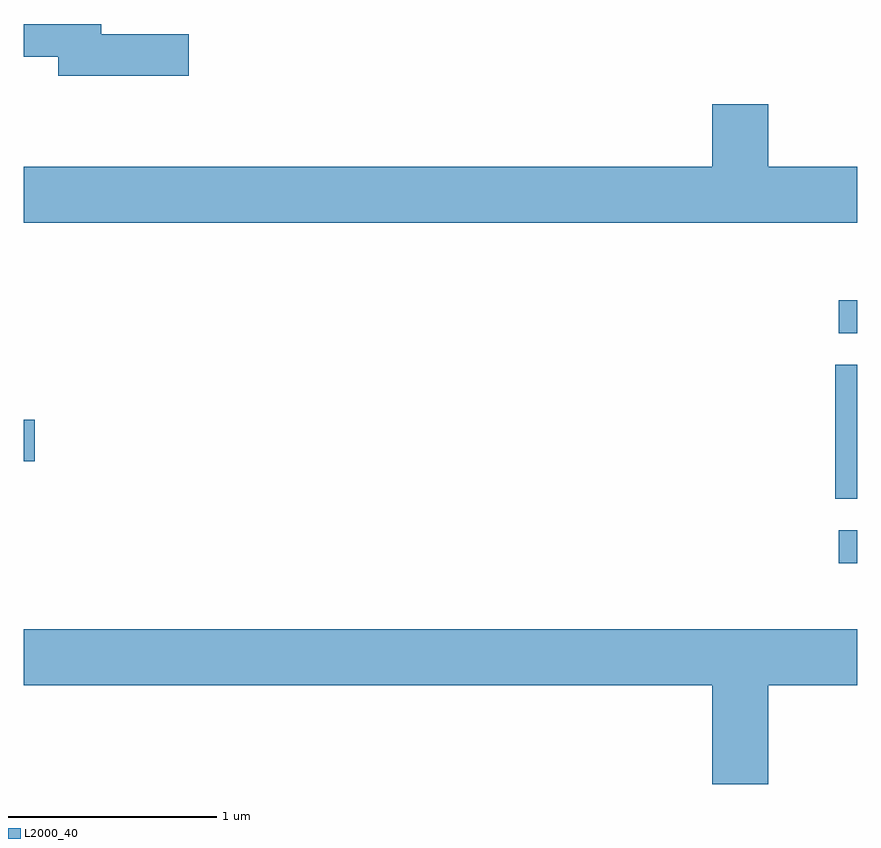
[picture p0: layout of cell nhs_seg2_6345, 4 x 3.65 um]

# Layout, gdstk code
import gdstk
lib = gdstk.Library(unit=1e-6, precision=1e-09)
def R(c, l, rs):  # rectangles x0, y0, x1, y1
    for r in rs: c.add(gdstk.rectangle(r[:2], r[2:], *l))
def P(c, l, *ps):  # polygons
    for p in ps: c.add(gdstk.Polygon(p, *l))
L2000_40 = (2000, 40)

nhs_seg2_6345 = lib.new_cell('nhs_seg2_6345')
R(nhs_seg2_6345, L2000_40, [(375.523,1088.861,375.611,1089.019), (375.506,1089.171,375.611,1089.814), (371.611,1089.351,371.664,1089.549), (375.523,1089.966,375.611,1090.124)])
P(nhs_seg2_6345, L2000_40, [(372.404,1091.399),(371.984,1091.399),(371.984,1091.449),(371.611,1091.449),(371.611,1091.291),(371.776,1091.291),(371.776,1091.201),(372.404,1091.201)],
  [(375.611,1090.764),(375.184,1090.764),(375.184,1091.064),(374.916,1091.064),(374.916,1090.764),(371.611,1090.764),(371.611,1090.496),(375.611,1090.496)],
  [(375.184,1088.276),(375.611,1088.276),(375.611,1088.544),(371.611,1088.544),(371.611,1088.276),(374.916,1088.276),(374.916,1087.802),(375.184,1087.802)])

lib.write_gds('nhs_seg2_6345.gds')
